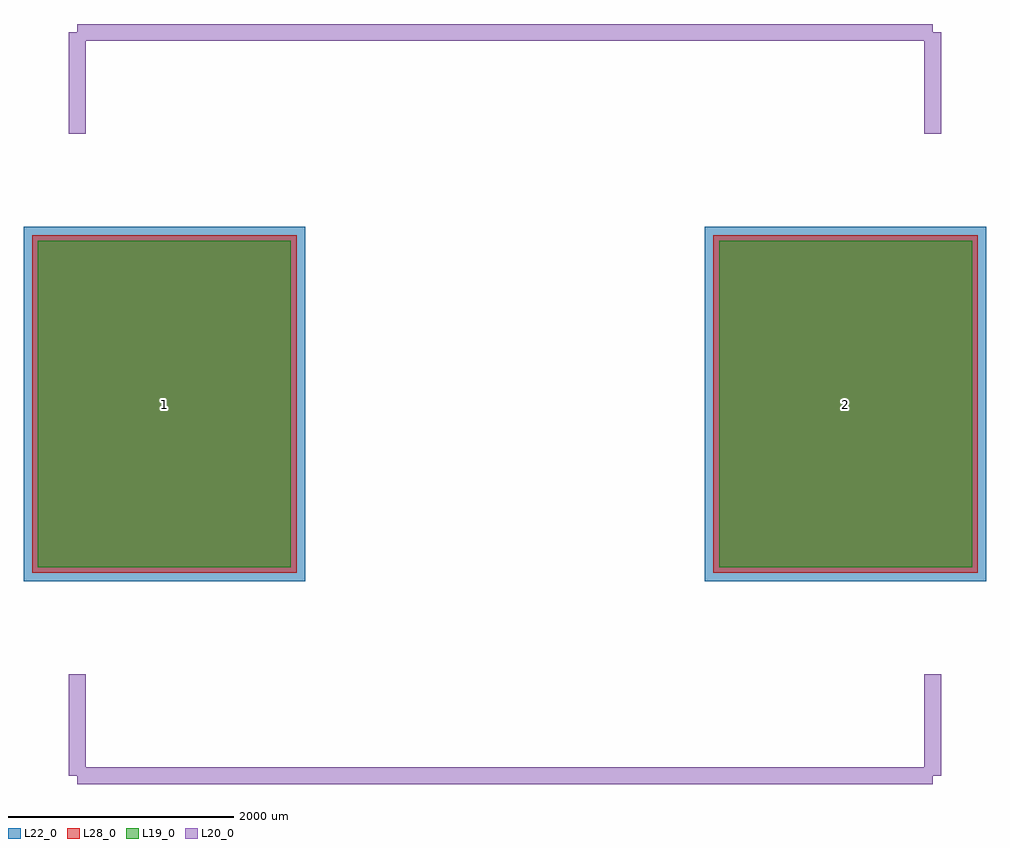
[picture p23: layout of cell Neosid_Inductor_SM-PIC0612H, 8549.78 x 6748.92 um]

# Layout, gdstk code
import gdstk
lib = gdstk.Library(unit=1e-6, precision=1e-09)
def R(c, l, rs):  # rectangles x0, y0, x1, y1
    for r in rs: c.add(gdstk.rectangle(r[:2], r[2:], *l))
L19_0 = (19, 0)
L20_0 = (20, 0)
L22_0 = (22, 0)
L28_0 = (28, 0)

neosid_inductor_sm_pic06 = lib.new_cell('Neosid_Inductor_SM-PIC0612H')
R(neosid_inductor_sm_pic06, L19_0, [(-4149.89,-1449.87,-1900.39,1449.87), (1900.39,-1449.87,4149.89,1449.87)])
R(neosid_inductor_sm_pic06, L22_0, [(-4274.89,-1574.87,-1775.39,1574.87), (1775.39,-1574.87,4274.89,1574.87)])
R(neosid_inductor_sm_pic06, L28_0, [(-4199.89,-1499.87,-1850.39,1499.87), (1850.39,-1499.87,4199.89,1499.87)])
neosid_inductor_sm_pic06.add(gdstk.FlexPath([(-3799.84,3299.46),(-3799.84,2400.3)], 149.998, ends="flush", simple_path=True, layer=20, datatype=0))  # L20_0
neosid_inductor_sm_pic06.add(gdstk.FlexPath([(3799.84,3299.46),(-3799.84,3299.46)], 149.998, ends="flush", simple_path=True, layer=20, datatype=0))  # L20_0
neosid_inductor_sm_pic06.add(gdstk.FlexPath([(3799.84,-3299.46),(3799.84,-2400.3)], 149.998, ends="flush", simple_path=True, layer=20, datatype=0))  # L20_0
neosid_inductor_sm_pic06.add(gdstk.FlexPath([(-3799.84,-3299.46),(3799.84,-3299.46)], 149.998, ends="flush", simple_path=True, layer=20, datatype=0))  # L20_0
neosid_inductor_sm_pic06.add(gdstk.FlexPath([(-3799.84,-2400.3),(-3799.84,-3299.46)], 149.998, ends="flush", simple_path=True, layer=20, datatype=0))  # L20_0
neosid_inductor_sm_pic06.add(gdstk.FlexPath([(3799.84,2400.3),(3799.84,3299.46)], 149.998, ends="flush", simple_path=True, layer=20, datatype=0))  # L20_0
neosid_inductor_sm_pic06.add(gdstk.Label('2', (3025.14,0), layer=28, texttype=0))
neosid_inductor_sm_pic06.add(gdstk.Label('1', (-3025.14,0), layer=28, texttype=0))
neosid_inductor_sm_pic06.add(gdstk.Label('type', (0,-5499.1), layer=9, texttype=0))
neosid_inductor_sm_pic06.add(gdstk.Label('devicename', (0,5400.04), layer=9, texttype=0))

lib.write_gds('Neosid_Inductor_SM-PIC0612H.gds')
